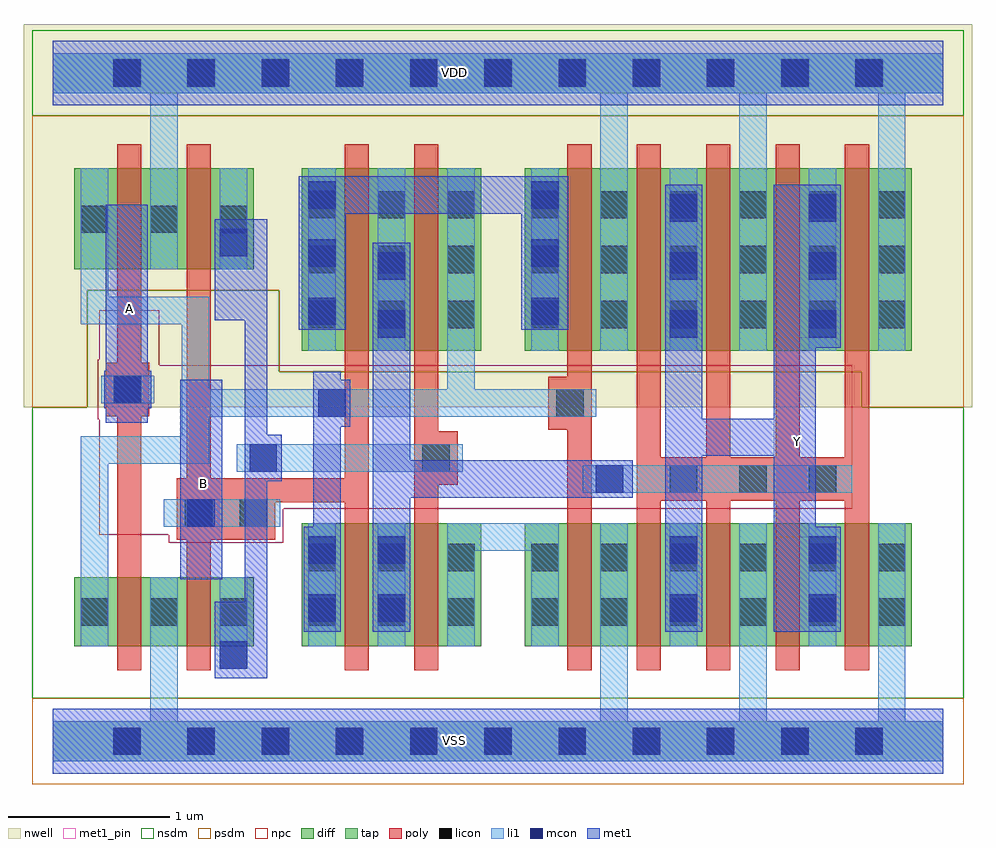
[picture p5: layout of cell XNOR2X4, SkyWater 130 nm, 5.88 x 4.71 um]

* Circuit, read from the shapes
.subckt XNOR2X4 A B VDD VSS Y
XM1 VSS A n1 VSS sky130_fd_pr__nfet_01v8 w=0.425 l=0.15
XM2 n2 B VSS VSS sky130_fd_pr__nfet_01v8 w=0.425 l=0.15
XM3 n3 B n1 VSS sky130_fd_pr__nfet_01v8 w=0.76 l=0.15
XM4 n4 n2 n3 VSS sky130_fd_pr__nfet_01v8 w=0.76 l=0.15
XM5 VSS n1 n4 VSS sky130_fd_pr__nfet_01v8 w=0.76 l=0.15
XM6 Y n3 VSS VSS sky130_fd_pr__nfet_01v8 w=0.76 l=0.15 m=4
XM7 VDD A n1 VDD sky130_fd_pr__pfet_01v8 w=0.625 l=0.15
XM8 n2 B VDD VDD sky130_fd_pr__pfet_01v8 w=0.625 l=0.15
XM9 n3 B n5 VDD sky130_fd_pr__pfet_01v8 w=1.13 l=0.15
XM10 n1 n2 n3 VDD sky130_fd_pr__pfet_01v8 w=1.13 l=0.15
XM11 VDD n1 n5 VDD sky130_fd_pr__pfet_01v8 w=1.13 l=0.15
XM12 Y n3 VDD VDD sky130_fd_pr__pfet_01v8 w=1.13 l=0.15 m=4
.ends

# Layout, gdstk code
from math import pi, radians
import gdstk
lib = gdstk.Library(unit=1e-6, precision=1e-09)
def R(c, l, rs):  # rectangles x0, y0, x1, y1
    for r in rs: c.add(gdstk.rectangle(r[:2], r[2:], *l))
def A(c, l, x, y, w, h, nx, ny, dx, dy):  # array of equal rectangles
    R(c, l, [(x+i*dx, y+j*dy, x+i*dx+w, y+j*dy+h) for i in range(nx) for j in range(ny)])
def P(c, l, *ps):  # polygons
    for p in ps: c.add(gdstk.Polygon(p, *l))
nwell = (64, 20)
diff = (65, 20)
tap = (65, 44)
poly = (66, 20)
licon = (66, 44)
li1 = (67, 20)
mcon = (67, 44)
met1_pin = (68, 16)
met1 = (68, 20)
nsdm = (93, 44)
psdm = (94, 20)
npc = (95, 20)

polyconn_cdns_7507101540 = lib.new_cell('polyConn_CDNS_750710154090')
R(polyconn_cdns_7507101540, poly, [(-0.165,-0.135,0.165,0.135)])
R(polyconn_cdns_7507101540, licon, [(-0.085,-0.085,0.085,0.085)])
R(polyconn_cdns_7507101540, li1, [(-0.085,-0.165,0.085,0.165)])
R(polyconn_cdns_7507101540, mcon, [(-0.085,-0.085,0.085,0.085)])
R(polyconn_cdns_7507101540, met1, [(-0.115,-0.145,0.115,0.145)])
R(polyconn_cdns_7507101540, npc, [(-0.185,-0.185,0.185,0.185)])

pyl1con_c_cdns_750710154 = lib.new_cell('PYL1CON_C_CDNS_750710154092')
R(pyl1con_c_cdns_750710154, poly, [(-0.135,-0.165,0.135,0.165)])
R(pyl1con_c_cdns_750710154, licon, [(-0.085,-0.085,0.085,0.085)])
R(pyl1con_c_cdns_750710154, npc, [(-0.185,-0.185,0.185,0.185)])

l1m1_c_cdns_750710154091 = lib.new_cell('L1M1_C_CDNS_750710154091')
R(l1m1_c_cdns_750710154091, li1, [(-0.085,-0.165,0.085,0.165)])
R(l1m1_c_cdns_750710154091, mcon, [(-0.085,-0.085,0.085,0.085)])
R(l1m1_c_cdns_750710154091, met1, [(-0.115,-0.145,0.115,0.145)])

l1m1_c_cdns_750710154090 = lib.new_cell('L1M1_C_CDNS_750710154090')
R(l1m1_c_cdns_750710154090, li1, [(-0.165,-0.085,0.165,0.085)])
R(l1m1_c_cdns_750710154090, mcon, [(-0.085,-0.085,0.085,0.085)])
R(l1m1_c_cdns_750710154090, met1, [(-0.115,-0.145,0.115,0.145)])

l1m1_c_cdns_750710154094 = lib.new_cell('L1M1_C_CDNS_750710154094')
R(l1m1_c_cdns_750710154094, li1, [(-0.085,-0.345,0.085,0.345)])
R(l1m1_c_cdns_750710154094, mcon, [(-0.085,-0.265,0.085,-0.095), (-0.085,0.095,0.085,0.265)])
R(l1m1_c_cdns_750710154094, met1, [(-0.115,-0.325,0.115,0.325)])

l1m1_c_cdns_750710154093 = lib.new_cell('L1M1_C_CDNS_750710154093')
R(l1m1_c_cdns_750710154093, li1, [(-0.085,-0.165,0.085,0.165)])
R(l1m1_c_cdns_750710154093, mcon, [(-0.085,-0.085,0.085,0.085)])
R(l1m1_c_cdns_750710154093, met1, [(-0.145,-0.115,0.145,0.115)])

l1m1_c_cdns_750710154095 = lib.new_cell('L1M1_C_CDNS_750710154095')
R(l1m1_c_cdns_750710154095, li1, [(-0.165,-0.085,0.165,0.085)])
R(l1m1_c_cdns_750710154095, mcon, [(-0.085,-0.085,0.085,0.085)])
R(l1m1_c_cdns_750710154095, met1, [(-0.145,-0.115,0.145,0.115)])

c_l1m1_c_cdns_750710154091 = lib.new_cell('L1M1_C_CDNS_7507101540914')
R(c_l1m1_c_cdns_750710154091, li1, [(-0.085,-0.525,0.085,0.525)])
A(c_l1m1_c_cdns_750710154091, mcon, -0.085, -0.445, 0.17, 0.17, 1, 3, 0, 0.36)
R(c_l1m1_c_cdns_750710154091, met1, [(-0.145,-0.475,0.145,0.475)])

l1m1_c_cdns_750710154098 = lib.new_cell('L1M1_C_CDNS_750710154098')
R(l1m1_c_cdns_750710154098, li1, [(-0.085,-0.525,0.085,0.525)])
A(l1m1_c_cdns_750710154098, mcon, -0.085, -0.445, 0.17, 0.17, 1, 3, 0, 0.36)
R(l1m1_c_cdns_750710154098, met1, [(-0.115,-0.505,0.115,0.505)])

l1m1_c_cdns_750710154097 = lib.new_cell('L1M1_C_CDNS_750710154097')
R(l1m1_c_cdns_750710154097, li1, [(-0.085,-0.085,0.085,0.165)])
R(l1m1_c_cdns_750710154097, mcon, [(-0.085,-0.085,0.085,0.085)])
R(l1m1_c_cdns_750710154097, met1, [(-0.115,-0.145,0.115,0.145)])

xnor2x4 = lib.new_cell('XNOR2X4')
R(xnor2x4, nwell, [(-0.18,2.07,5.7,4.445), (1.365,2.24,2.365,3.73), (2.005,2.24,2.835,3.73), (2.745,2.24,3.575,3.73), (3.215,2.24,5.505,3.73), (-0.045,2.745,0.955,3.73), (0.595,2.745,1.425,3.73), (-0.18,3.875,5.7,4.445)])
A(xnor2x4, diff, 3.19, 0.59, 0.15, 0.76, 5, 1, 0.43, 0)
A(xnor2x4, diff, 3.77, 0.59, 0.28, 0.76, 3, 1, 0.43, 0)
A(xnor2x4, diff, 3.19, 2.42, 0.15, 1.13, 5, 1, 0.43, 0)
A(xnor2x4, diff, 3.77, 2.42, 0.28, 1.13, 3, 1, 0.43, 0)
R(xnor2x4, diff, [(0.135,0.59,0.4,1.015), (0.4,0.59,0.55,1.015), (0.55,0.59,0.605,1.015), (0.605,0.59,0.83,1.015), (0.83,0.59,0.98,1.015), (0.98,0.59,1.245,1.015), (1.545,0.59,1.81,1.35), (1.81,0.59,1.96,1.35), (1.96,0.59,2.185,1.35), (2.185,0.59,2.24,1.35), (2.24,0.59,2.39,1.35), (2.39,0.59,2.655,1.35), (2.925,0.59,3.19,1.35), (3.34,0.59,3.395,1.35), (3.395,0.59,3.62,1.35), (5.06,0.59,5.325,1.35), (1.545,2.42,1.81,3.55), (1.81,2.42,1.96,3.55), (1.96,2.42,2.185,3.55), (2.185,2.42,2.24,3.55), (2.24,2.42,2.39,3.55), (2.39,2.42,2.655,3.55), (2.925,2.42,3.19,3.55), (3.34,2.42,3.395,3.55), (3.395,2.42,3.62,3.55), (5.06,2.42,5.325,3.55), (0.135,2.925,0.4,3.55), (0.4,2.925,0.55,3.55), (0.55,2.925,0.775,3.55), (0.775,2.925,0.83,3.55), (0.83,2.925,0.98,3.55), (0.98,2.925,1.245,3.55)])
A(xnor2x4, poly, 3.19, 0.44, 0.15, 0.055, 5, 2, 0.43, 1.005)
A(xnor2x4, poly, 3.19, 0.495, 0.15, 0.095, 5, 2, 0.43, 0.855)
A(xnor2x4, poly, 3.19, 0.59, 0.15, 0.76, 5, 1, 0.43, 0)
A(xnor2x4, poly, 3.62, 2.27, 0.15, 0.055, 4, 1, 0.43, 0)
A(xnor2x4, poly, 3.19, 2.325, 0.15, 0.095, 5, 2, 0.43, 1.225)
A(xnor2x4, poly, 3.19, 2.42, 0.15, 1.13, 5, 1, 0.43, 0)
A(xnor2x4, poly, 3.19, 3.645, 0.15, 0.055, 5, 1, 0.43, 0)
R(xnor2x4, poly, [(0.4,0.44,0.55,0.495), (0.83,0.44,0.98,0.495), (1.81,0.44,1.96,0.495), (2.24,0.44,2.39,0.495), (0.4,0.495,0.55,0.59), (0.83,0.495,0.98,0.59), (1.81,0.495,1.96,0.59), (2.24,0.495,2.39,0.59), (0.4,0.59,0.55,1.015), (0.83,0.59,0.98,1.015), (1.81,0.59,1.96,1.35), (2.24,0.59,2.39,1.35), (0.4,1.015,0.55,1.11), (0.83,1.015,0.98,1.11), (0.4,1.11,0.55,1.165), (0.83,1.11,0.98,1.165), (0.77,1.25,1.38,1.58), (1.81,1.35,1.96,1.445), (2.24,1.35,2.39,1.445), (1.81,1.445,1.96,1.5), (2.24,1.445,2.39,1.5), (1.81,2.22,1.96,2.275), (2.24,2.22,2.39,2.275), (3.19,2.22,3.34,2.275), (1.81,2.325,1.96,2.42), (2.24,2.325,2.39,2.42), (1.81,2.42,1.96,3.55), (2.24,2.42,2.39,3.55), (0.4,2.775,0.55,2.83), (0.83,2.775,0.98,2.83), (0.4,2.83,0.55,2.925), (0.83,2.83,0.98,2.925), (0.4,2.925,0.55,3.55), (0.83,2.925,0.98,3.55), (0.4,3.55,0.55,3.645), (0.83,3.55,0.98,3.645), (1.81,3.55,1.96,3.645), (2.24,3.55,2.39,3.645), (0.4,3.645,0.55,3.7), (0.83,3.645,0.98,3.7), (1.81,3.645,1.96,3.7), (2.24,3.645,2.39,3.7)])
A(xnor2x4, licon, 0.375, -0.085, 0.17, 0.17, 11, 2, 0.46, 4.14)
A(xnor2x4, licon, 0.175, 0.715, 0.17, 0.17, 3, 2, 0.43, 2.435)
A(xnor2x4, licon, 1.585, 0.715, 0.17, 0.17, 3, 2, 0.43, 0.34)
A(xnor2x4, licon, 2.965, 0.715, 0.17, 0.17, 6, 2, 0.43, 0.34)
A(xnor2x4, licon, 1.585, 2.56, 0.17, 0.17, 3, 3, 0.43, 0.34)
A(xnor2x4, licon, 2.965, 2.56, 0.17, 0.17, 6, 3, 0.43, 0.34)
A(xnor2x4, li1, 0.175, 0.59, 0.17, 0.425, 3, 1, 0.43, 0)
A(xnor2x4, li1, 1.585, 0.59, 0.17, 0.76, 3, 1, 0.43, 0)
A(xnor2x4, li1, 2.965, 0.59, 0.17, 0.76, 6, 1, 0.43, 0)
A(xnor2x4, li1, 1.585, 2.42, 0.17, 1.13, 3, 1, 0.43, 0)
A(xnor2x4, li1, 2.965, 2.42, 0.17, 1.13, 6, 1, 0.43, 0)
A(xnor2x4, li1, 0.175, 2.925, 0.17, 0.625, 3, 1, 0.43, 0)
A(xnor2x4, mcon, 0.375, -0.085, 0.17, 0.17, 11, 2, 0.46, 4.14)
R(xnor2x4, met1_pin, [(0.79,1.005,1.05,2.24), (4.47,1.265,4.73,2.505), (0.33,1.975,0.59,3.325)])
R(xnor2x4, met1, [(1.005,0.39,1.33,0.865), (1.005,0.39,1.235,0.865), (1.005,2.61,1.33,3.235)])
R(xnor2x4, nsdm, [(-0.005,0.46,0.615,1.145), (0.595,0.46,1.385,1.145), (1.405,0.46,2.195,1.48), (2.175,0.46,2.795,1.48), (2.785,0.46,3.405,1.48), (3.385,0.46,5.465,1.48), (-0.125,3.875,5.645,4.405), (-0.125,3.93,5.645,4.35)])
P(xnor2x4, nsdm, [(5.645,2.07),(5.015,2.07),(5.015,2.29),(1.405,2.29),(1.405,2.795),(0.215,2.795),(0.215,2.07),(-0.125,2.07),(-0.125,0.265),(5.645,0.265)])
R(xnor2x4, psdm, [(-0.125,-0.265,5.645,0.265), (-0.125,-0.21,5.645,0.21), (1.405,2.29,2.195,3.68), (2.175,2.29,2.795,3.68), (2.785,2.29,3.405,3.68), (3.385,2.29,5.465,3.68), (-0.005,2.795,0.785,3.68), (0.765,2.795,1.385,3.68)])
P(xnor2x4, psdm, [(5.645,3.875),(-0.125,3.875),(-0.125,2.07),(0.215,2.07),(0.215,2.795),(1.405,2.795),(1.405,2.29),(5.015,2.29),(5.015,2.07),(5.645,2.07)])
P(xnor2x4, npc, [(4.955,2.33),(0.66,2.33),(0.66,2.67),(0.29,2.67),(0.29,1.28),(1.43,1.28),(1.43,1.44),(4.955,1.44)])
xnor2x4.add(gdstk.FlexPath([(1.885,1.555),(0.77,1.555)], 0.15, ends=(0.075, 0), simple_path=True, layer=66, datatype=20))  # poly
xnor2x4.add(gdstk.FlexPath([(0.905,1.11),(0.905,2.83)], 0.15, ends="flush", simple_path=True, layer=66, datatype=20))  # poly
xnor2x4.add(gdstk.FlexPath([(0.475,2.83),(0.475,1.11)], 0.15, ends="flush", simple_path=True, layer=66, datatype=20))  # poly
xnor2x4.add(gdstk.FlexPath([(3.695,2.325),(3.695,1.445)], 0.15, ends="flush", simple_path=True, layer=66, datatype=20))  # poly
xnor2x4.add(gdstk.FlexPath([(4.125,2.325),(4.125,1.445)], 0.15, ends="flush", simple_path=True, layer=66, datatype=20))  # poly
xnor2x4.add(gdstk.FlexPath([(4.555,2.325),(4.555,1.445)], 0.15, ends="flush", simple_path=True, layer=66, datatype=20))  # poly
xnor2x4.add(gdstk.FlexPath([(2.315,2.325),(2.315,1.45)], 0.15, ends="flush", simple_path=True, layer=66, datatype=20))  # poly
xnor2x4.add(gdstk.FlexPath([(1.885,1.555),(1.885,2.325)], 0.15, ends=(0.075, 0), simple_path=True, layer=66, datatype=20))  # poly
xnor2x4.add(gdstk.FlexPath([(4.985,2.42),(4.985,1.445)], 0.15, ends="flush", simple_path=True, layer=66, datatype=20))  # poly
xnor2x4.add(gdstk.FlexPath([(3.265,2.325),(3.265,1.445)], 0.15, ends="flush", simple_path=True, layer=66, datatype=20))  # poly
xnor2x4.add(gdstk.FlexPath([(0,4.14),(5.52,4.14)], 0.4, ends="flush", simple_path=True, layer=68, datatype=16))  # met1_pin
xnor2x4.add(gdstk.FlexPath([(0,0),(5.52,0)], 0.4, ends="flush", simple_path=True, layer=68, datatype=16))  # met1_pin
xnor2x4.add(gdstk.FlexPath([(0.26,2.67),(0.26,2.925)], 0.17, ends=(0.085, 0), simple_path=True, layer=67, datatype=20))  # li1
xnor2x4.add(gdstk.FlexPath([(0,0),(5.52,0)], 0.25, ends="flush", simple_path=True, layer=67, datatype=20))  # li1
xnor2x4.add(gdstk.FlexPath([(0,4.14),(5.52,4.14)], 0.25, ends="flush", simple_path=True, layer=67, datatype=20))  # li1
xnor2x4.add(gdstk.FlexPath([(0.26,1.015),(0.26,1.805)], 0.17, ends=(0, 0.085), simple_path=True, layer=67, datatype=20))  # li1
xnor2x4.add(gdstk.FlexPath([(3.37,2.095),(0.885,2.095)], 0.17, ends="flush", simple_path=True, layer=67, datatype=20))  # li1
xnor2x4.add(gdstk.FlexPath([(3.48,2.925),(3.48,4.265)], 0.17, ends="flush", simple_path=True, layer=67, datatype=20))  # li1
xnor2x4.add(gdstk.FlexPath([(4.34,-0.125),(4.34,0.59)], 0.17, ends="flush", simple_path=True, layer=67, datatype=20))  # li1
xnor2x4.add(gdstk.FlexPath([(4.34,2.925),(4.34,4.265)], 0.17, ends="flush", simple_path=True, layer=67, datatype=20))  # li1
xnor2x4.add(gdstk.FlexPath([(2.54,1.755),(1.14,1.755)], 0.17, ends="flush", simple_path=True, layer=67, datatype=20))  # li1
xnor2x4.add(gdstk.FlexPath([(4.955,1.625),(3.285,1.625)], 0.17, ends="flush", simple_path=True, layer=67, datatype=20))  # li1
xnor2x4.add(gdstk.FlexPath([(5.2,-0.125),(5.2,0.59)], 0.17, ends="flush", simple_path=True, layer=67, datatype=20))  # li1
xnor2x4.add(gdstk.FlexPath([(5.2,2.925),(5.2,4.265)], 0.17, ends="flush", simple_path=True, layer=67, datatype=20))  # li1
xnor2x4.add(gdstk.FlexPath([(2.53,3.55),(2.53,2.06)], 0.17, ends="flush", simple_path=True, layer=67, datatype=20))  # li1
xnor2x4.add(gdstk.FlexPath([(3.135,1.265),(2.445,1.265)], 0.17, ends="flush", simple_path=True, layer=67, datatype=20))  # li1
xnor2x4.add(gdstk.FlexPath([(0.69,-0.125),(0.69,1.015)], 0.17, ends="flush", simple_path=True, layer=67, datatype=20))  # li1
xnor2x4.add(gdstk.FlexPath([(1.41,1.415),(0.69,1.415)], 0.17, ends="flush", simple_path=True, layer=67, datatype=20))  # li1
xnor2x4.add(gdstk.FlexPath([(0.69,2.925),(0.69,4.265)], 0.17, ends="flush", simple_path=True, layer=67, datatype=20))  # li1
xnor2x4.add(gdstk.FlexPath([(0.885,2.67),(0.26,2.67)], 0.17, ends="extended", simple_path=True, layer=67, datatype=20))  # li1
xnor2x4.add(gdstk.FlexPath([(3.48,-0.125),(3.48,0.59)], 0.17, ends="flush", simple_path=True, layer=67, datatype=20))  # li1
xnor2x4.add(gdstk.FlexPath([(0.885,1.805),(0.885,2.67)], 0.17, ends="extended", simple_path=True, layer=67, datatype=20))  # li1
xnor2x4.add(gdstk.FlexPath([(0.26,1.805),(0.885,1.805)], 0.17, ends="extended", simple_path=True, layer=67, datatype=20))  # li1
xnor2x4.add(gdstk.FlexPath([(0,4.14),(5.52,4.14)], 0.25, ends="flush", simple_path=True, layer=65, datatype=44))  # tap
xnor2x4.add(gdstk.FlexPath([(0,0),(5.52,0)], 0.25, ends="flush", simple_path=True, layer=65, datatype=44))  # tap
xnor2x4.add(gdstk.FlexPath([(0,4.14),(5.52,4.14)], 0.4, ends="flush", simple_path=True, layer=68, datatype=20))  # met1
xnor2x4.add(gdstk.FlexPath([(1.075,2.68),(1.075,3.09)], 0.14, ends=(0.07, 0), simple_path=True, layer=68, datatype=20))  # met1
xnor2x4.add(gdstk.FlexPath([(1.26,2.68),(1.075,2.68)], 0.14, ends="extended", simple_path=True, layer=68, datatype=20))  # met1
xnor2x4.add(gdstk.FlexPath([(4.6,0.68),(4.6,3.45)], 0.26, ends="flush", simple_path=True, layer=68, datatype=20))  # met1
xnor2x4.add(gdstk.FlexPath([(0.92,1.005),(0.92,2.24)], 0.26, ends="flush", simple_path=True, layer=68, datatype=20))  # met1
xnor2x4.add(gdstk.FlexPath([(1.075,0.795),(1.26,0.795)], 0.14, ends="extended", simple_path=True, layer=68, datatype=20))  # met1
xnor2x4.add(gdstk.FlexPath([(0.46,1.975),(0.46,3.325)], 0.26, ends="flush", simple_path=True, layer=68, datatype=20))  # met1
xnor2x4.add(gdstk.FlexPath([(1.075,0.535),(1.075,0.795)], 0.14, ends=(0, 0.07), simple_path=True, layer=68, datatype=20))  # met1
xnor2x4.add(gdstk.FlexPath([(4.73,1.885),(3.795,1.885)], 0.23, ends="flush", simple_path=True, layer=68, datatype=20))  # met1
xnor2x4.add(gdstk.FlexPath([(1.7,0.705),(1.7,2.29)], 0.17, ends="flush", simple_path=True, layer=68, datatype=20))  # met1
xnor2x4.add(gdstk.FlexPath([(3.91,0.68),(3.91,3.45)], 0.23, ends="flush", simple_path=True, layer=68, datatype=20))  # met1
xnor2x4.add(gdstk.FlexPath([(1.525,3.385),(3.195,3.385)], 0.23, ends="flush", simple_path=True, layer=68, datatype=20))  # met1
xnor2x4.add(gdstk.FlexPath([(0,0),(5.52,0)], 0.4, ends="flush", simple_path=True, layer=68, datatype=20))  # met1
xnor2x4.add(gdstk.FlexPath([(3.595,1.625),(1.985,1.625)], 0.23, ends="flush", simple_path=True, layer=68, datatype=20))  # met1
xnor2x4.add(gdstk.FlexPath([(2.1,0.68),(2.1,3.09)], 0.23, ends="flush", simple_path=True, layer=68, datatype=20))  # met1
xnor2x4.add(gdstk.FlexPath([(1.26,0.795),(1.26,2.68)], 0.14, ends="extended", simple_path=True, layer=68, datatype=20))  # met1
xnor2x4.add(gdstk.Reference(polyconn_cdns_7507101540, (0.465,2.18), rotation=pi/2))
xnor2x4.add(gdstk.Reference(pyl1con_c_cdns_750710154, (4.34,1.625), rotation=3*pi/2, x_reflection=True))
xnor2x4.add(gdstk.Reference(pyl1con_c_cdns_750710154, (3.91,1.625), rotation=3*pi/2, x_reflection=True))
xnor2x4.add(gdstk.Reference(pyl1con_c_cdns_750710154, (2.375,1.755), x_reflection=True))
xnor2x4.add(gdstk.Reference(pyl1con_c_cdns_750710154, (3.205,2.095), x_reflection=True))
xnor2x4.add(gdstk.Reference(pyl1con_c_cdns_750710154, (1.245,1.415), x_reflection=True))
xnor2x4.add(gdstk.Reference(pyl1con_c_cdns_750710154, (4.77,1.625), rotation=3*pi/2, x_reflection=True))
xnor2x4.add(gdstk.Reference(pyl1con_c_cdns_750710154, (0.905,1.415), rotation=pi, x_reflection=True))
xnor2x4.add(gdstk.Reference(l1m1_c_cdns_750710154091, (1.12,3.09)))
xnor2x4.add(gdstk.Reference(l1m1_c_cdns_750710154090, (1.73,2.095)))
xnor2x4.add(gdstk.Reference(l1m1_c_cdns_750710154090, (0.92,1.415), x_reflection=True))
xnor2x4.add(gdstk.Reference(l1m1_c_cdns_750710154094, (1.67,1.005)))
xnor2x4.add(gdstk.Reference(l1m1_c_cdns_750710154094, (4.77,1.005)))
xnor2x4.add(gdstk.Reference(l1m1_c_cdns_750710154094, (3.91,1.005)))
xnor2x4.add(gdstk.Reference(l1m1_c_cdns_750710154094, (2.1,2.765)))
xnor2x4.add(gdstk.Reference(l1m1_c_cdns_750710154094, (2.1,1.005)))
xnor2x4.add(gdstk.Reference(l1m1_c_cdns_750710154093, (1.305,1.755), rotation=pi/2))
xnor2x4.add(gdstk.Reference(l1m1_c_cdns_750710154095, (3.45,1.625)))
xnor2x4.add(gdstk.Reference(c_l1m1_c_cdns_750710154091, (1.67,3.025)))
xnor2x4.add(gdstk.Reference(c_l1m1_c_cdns_750710154091, (3.05,3.025)))
xnor2x4.add(gdstk.Reference(l1m1_c_cdns_750710154098, (4.77,2.945)))
xnor2x4.add(gdstk.Reference(l1m1_c_cdns_750710154098, (3.91,2.945)))
xnor2x4.add(gdstk.Reference(l1m1_c_cdns_750710154097, (1.12,0.535)))
xnor2x4.add(gdstk.Label('VDD', (2.49,4.145), layer=68, texttype=16))
xnor2x4.add(gdstk.Label('A', (0.475,2.68), layer=68, texttype=16))
xnor2x4.add(gdstk.Label('Y', (4.615,1.86), layer=68, texttype=16))
xnor2x4.add(gdstk.Label('B', (0.935,1.6), layer=68, texttype=16))
xnor2x4.add(gdstk.Label('VSS', (2.49,0.005), layer=68, texttype=16))

lib.write_gds('XNOR2X4.gds')
